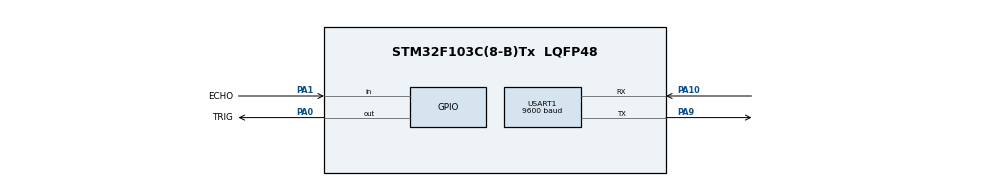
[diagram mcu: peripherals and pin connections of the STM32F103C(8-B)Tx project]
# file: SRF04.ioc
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Mcu.Family=STM32F1
Mcu.Name=STM32F103C(8-B)Tx
Mcu.Package=LQFP48
NVIC.PriorityGroup=NVIC_PRIORITYGROUP_4
PA0-WKUP.GPIO_Label=TRIG
PA0-WKUP.Signal=GPIO_Output
PA1.GPIO_Label=ECHO
PA1.Signal=GPIO_Input
PA10.Mode=Asynchronous
PA10.Signal=USART1_RX
PA13.Mode=Serial_Wire
PA13.Signal=SYS_JTMS-SWDIO
PA14.Mode=Serial_Wire
PA14.Signal=SYS_JTCK-SWCLK
PA9.Mode=Asynchronous
PA9.Signal=USART1_TX
ProjectManager.HeapSize=0x200
ProjectManager.StackSize=0x400
ProjectManager.TargetToolchain=MDK-ARM V5.32
RCC.APB1Freq_Value=8000000
RCC.APB2Freq_Value=8000000
RCC.APB2TimFreq_Value=8000000
TIM1.Prescaler=3
USART1.BaudRate=9600
USART1.Mode=MODE_TX_RX
USART1.VirtualMode=VM_ASYNC
VP_TIM1_VS_ClockSourceINT.Mode=Internal
board=custom

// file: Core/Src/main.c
/* USER CODE BEGIN Header */
/**
  ******************************************************************************
  * @file           : main.c
  * @brief          : Main program body
  ******************************************************************************
  * @attention
  *
  * Copyright (c) 2025 STMicroelectronics.
  * All rights reserved.
  *
  * This software is licensed under terms that can be found in the LICENSE file
  * in the root directory of this software component.
  * If no LICENSE file comes with this software, it is provided AS-IS.
  *
  ******************************************************************************
  */
/* USER CODE END Header */
#include "main.h"

/* USER CODE BEGIN Includes */
#include "SRF04.h"
#define __FILE_INCOMPLETE 1
#include <stdio.h>

struct __FILE
{
  int handle;
  /* Whatever you require here. If the only file you are using is */
  /* standard output using printf() for debugging, no file handling */
  /* is required. */
};
/* FILE is typedef'd in stdio.h. */
FILE __stdout;

/* USER CODE END Includes */

TIM_HandleTypeDef htim1;

UART_HandleTypeDef huart1;

/* USER CODE BEGIN PV */
SRF04Cnf_t SRF04 = {
	.TRI_Port = TRIG_GPIO_Port,
	.ECH_Port = ECHO_GPIO_Port,
	.TRI_Pin = TRIG_Pin,
	.ECH_Pin = ECHO_Pin
};
/* USER CODE END PV */

void SystemClock_Config(void);
static void MX_GPIO_Init(void);
static void MX_USART1_UART_Init(void);
static void MX_TIM1_Init(void);

/* USER CODE BEGIN 0 */
int fputc(int ch, FILE *f)
{
  HAL_UART_Transmit(&huart1, (uint8_t*)&ch, 1, 1000);
  return ch;
}

/* USER CODE END 0 */

int main(void)
{

  /* MCU Configuration--------------------------------------------------------*/

  /* Reset of all peripherals, Initializes the Flash interface and the Systick. */
  HAL_Init();

  /* Configure the system clock */
  SystemClock_Config();

  /* Initialize all configured peripherals */
  MX_GPIO_Init();
  MX_USART1_UART_Init();
  MX_TIM1_Init();
  /* USER CODE BEGIN 2 */
	HAL_TIM_Base_Start(&htim1);
  /* USER CODE END 2 */

  /* Infinite loop */
  /* USER CODE BEGIN WHILE */
  while (1)
  {
		SRF04_SendTrig(&SRF04, &htim1);
		double Distance = SRF04_GetDistance(&SRF04, &htim1);
		printf("SRF04: %.4lf cm\r\n", Distance);
		HAL_Delay(200);

    /* USER CODE END WHILE */

  }
}

void SystemClock_Config(void)
{
  RCC_OscInitTypeDef RCC_OscInitStruct = {0};
  RCC_ClkInitTypeDef RCC_ClkInitStruct = {0};

  /** Initializes the RCC Oscillators according to the specified parameters
  * in the RCC_OscInitTypeDef structure.
  */
  RCC_OscInitStruct.OscillatorType = RCC_OSCILLATORTYPE_HSI;
  RCC_OscInitStruct.HSIState = RCC_HSI_ON;
  RCC_OscInitStruct.HSICalibrationValue = RCC_HSICALIBRATION_DEFAULT;
  RCC_OscInitStruct.PLL.PLLState = RCC_PLL_NONE;
  if (HAL_RCC_OscConfig(&RCC_OscInitStruct) != HAL_OK)
  {
    Error_Handler();
  }

  /** Initializes the CPU, AHB and APB buses clocks
  */
  RCC_ClkInitStruct.ClockType = RCC_CLOCKTYPE_HCLK|RCC_CLOCKTYPE_SYSCLK
                              |RCC_CLOCKTYPE_PCLK1|RCC_CLOCKTYPE_PCLK2;
  RCC_ClkInitStruct.SYSCLKSource = RCC_SYSCLKSOURCE_HSI;
  RCC_ClkInitStruct.AHBCLKDivider = RCC_SYSCLK_DIV1;
  RCC_ClkInitStruct.APB1CLKDivider = RCC_HCLK_DIV1;
  RCC_ClkInitStruct.APB2CLKDivider = RCC_HCLK_DIV1;

  if (HAL_RCC_ClockConfig(&RCC_ClkInitStruct, FLASH_LATENCY_0) != HAL_OK)
  {
    Error_Handler();
  }
}

static void MX_TIM1_Init(void)
{

  TIM_ClockConfigTypeDef sClockSourceConfig = {0};
  TIM_MasterConfigTypeDef sMasterConfig = {0};

  htim1.Instance = TIM1;
  htim1.Init.Prescaler = 3;
  htim1.Init.CounterMode = TIM_COUNTERMODE_UP;
  htim1.Init.Period = 65535;
  htim1.Init.ClockDivision = TIM_CLOCKDIVISION_DIV1;
  htim1.Init.RepetitionCounter = 0;
  htim1.Init.AutoReloadPreload = TIM_AUTORELOAD_PRELOAD_DISABLE;
  if (HAL_TIM_Base_Init(&htim1) != HAL_OK)
  {
    Error_Handler();
  }
  sClockSourceConfig.ClockSource = TIM_CLOCKSOURCE_INTERNAL;
  if (HAL_TIM_ConfigClockSource(&htim1, &sClockSourceConfig) != HAL_OK)
  {
    Error_Handler();
  }
  sMasterConfig.MasterOutputTrigger = TIM_TRGO_RESET;
  sMasterConfig.MasterSlaveMode = TIM_MASTERSLAVEMODE_DISABLE;
  if (HAL_TIMEx_MasterConfigSynchronization(&htim1, &sMasterConfig) != HAL_OK)
  {
    Error_Handler();
  }

}

static void MX_USART1_UART_Init(void)
{

  huart1.Instance = USART1;
  huart1.Init.BaudRate = 9600;
  huart1.Init.WordLength = UART_WORDLENGTH_8B;
  huart1.Init.StopBits = UART_STOPBITS_1;
  huart1.Init.Parity = UART_PARITY_NONE;
  huart1.Init.Mode = UART_MODE_TX_RX;
  huart1.Init.HwFlowCtl = UART_HWCONTROL_NONE;
  huart1.Init.OverSampling = UART_OVERSAMPLING_16;
  if (HAL_UART_Init(&huart1) != HAL_OK)
  {
    Error_Handler();
  }

}

static void MX_GPIO_Init(void)
{
  GPIO_InitTypeDef GPIO_InitStruct = {0};

  /* GPIO Ports Clock Enable */
  __HAL_RCC_GPIOA_CLK_ENABLE();

  /*Configure GPIO pin Output Level */
  HAL_GPIO_WritePin(TRIG_GPIO_Port, TRIG_Pin, GPIO_PIN_RESET);

  /*Configure GPIO pin : TRIG_Pin */
  GPIO_InitStruct.Pin = TRIG_Pin;
  GPIO_InitStruct.Mode = GPIO_MODE_OUTPUT_PP;
  GPIO_InitStruct.Pull = GPIO_NOPULL;
  GPIO_InitStruct.Speed = GPIO_SPEED_FREQ_LOW;
  HAL_GPIO_Init(TRIG_GPIO_Port, &GPIO_InitStruct);

  /*Configure GPIO pin : ECHO_Pin */
  GPIO_InitStruct.Pin = ECHO_Pin;
  GPIO_InitStruct.Mode = GPIO_MODE_INPUT;
  GPIO_InitStruct.Pull = GPIO_NOPULL;
  HAL_GPIO_Init(ECHO_GPIO_Port, &GPIO_InitStruct);

}

void Error_Handler(void)
{
  __disable_irq();
  while (1)
  {
  }
}
